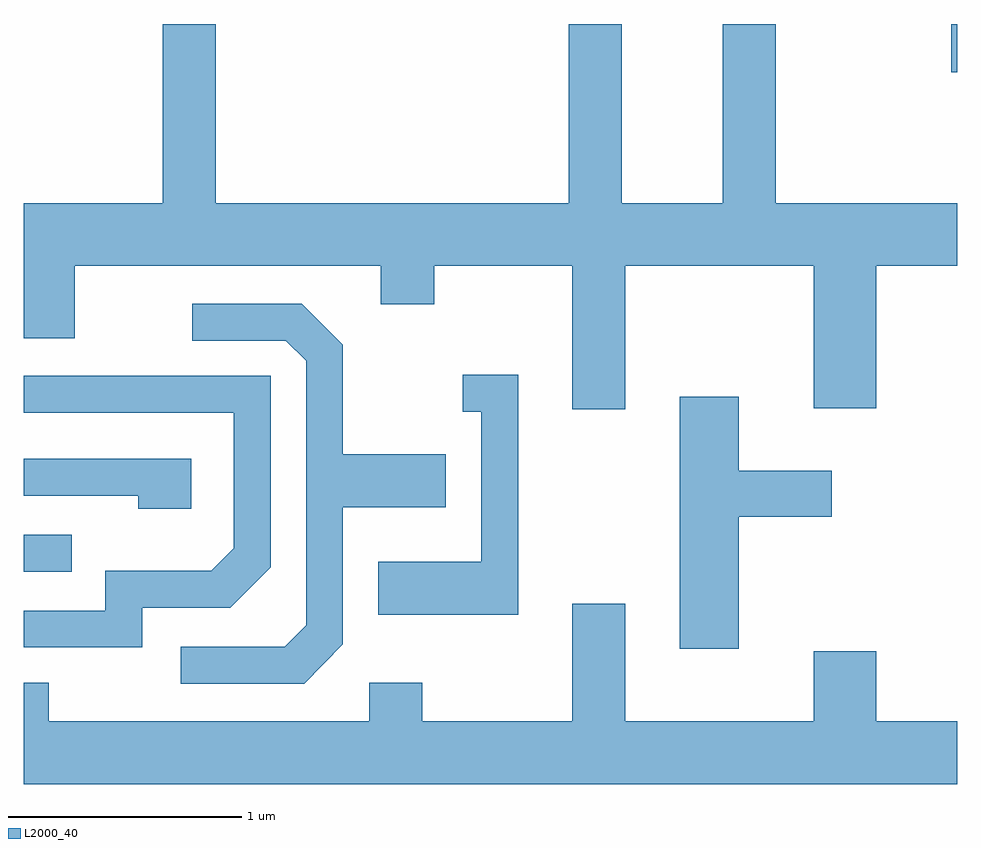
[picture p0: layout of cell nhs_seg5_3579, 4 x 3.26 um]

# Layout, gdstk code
import gdstk
lib = gdstk.Library(unit=1e-6, precision=1e-09)
def R(c, l, rs):  # rectangles x0, y0, x1, y1
    for r in rs: c.add(gdstk.rectangle(r[:2], r[2:], *l))
def P(c, l, *ps):  # polygons
    for p in ps: c.add(gdstk.Polygon(p, *l))
L2000_40 = (2000, 40)

nhs_seg5_3579 = lib.new_cell('nhs_seg5_3579')
R(nhs_seg5_3579, L2000_40, [(291.611,1437.726,291.818,1437.884), (295.586,1439.866,295.611,1440.072)])
P(nhs_seg5_3579, L2000_40, [(293.946,1440.072),(293.946,1439.304),(292.434,1439.304),(292.434,1440.072),(292.206,1440.072),(292.206,1439.304),(291.611,1439.304),(291.611,1438.726),(291.829,1438.726),(291.829,1439.036),(293.141,1439.036),(293.141,1438.871),(293.369,1438.871),(293.369,1439.036),(293.961,1439.036),(293.961,1438.421),(294.189,1438.421),(294.189,1439.036),(294.996,1439.036),(294.996,1438.426),(295.264,1438.426),(295.264,1439.036),(295.611,1439.036),(295.611,1439.304),(294.834,1439.304),(294.834,1440.072),(294.606,1440.072),(294.606,1439.304),(294.174,1439.304),(294.174,1440.072)],
  [(292.979,1437.414),(292.979,1438.001),(293.419,1438.001),(293.419,1438.229),(292.979,1438.229),(292.979,1438.697),(292.802,1438.874),(292.333,1438.874),(292.333,1438.716),(292.734,1438.716),(292.821,1438.629),(292.821,1437.497),(292.729,1437.404),(292.283,1437.404),(292.283,1437.246),(292.812,1437.246)],
  [(293.729,1438.569),(293.493,1438.569),(293.493,1438.411),(293.571,1438.411),(293.571,1437.769),(293.131,1437.769),(293.131,1437.541),(293.729,1437.541)],
  [(292.119,1437.571),(292.497,1437.571),(292.669,1437.744),(292.669,1438.564),(291.611,1438.564),(291.611,1438.406),(292.511,1438.406),(292.511,1437.827),(292.414,1437.729),(291.961,1437.729),(291.961,1437.559),(291.611,1437.559),(291.611,1437.401),(292.119,1437.401)],
  [(294.674,1437.961),(295.074,1437.961),(295.074,1438.159),(294.674,1438.159),(294.674,1438.474),(294.421,1438.474),(294.421,1437.396),(294.674,1437.396)],
  [(292.329,1438.209),(291.611,1438.209),(291.611,1438.051),(292.101,1438.051),(292.101,1437.996),(292.329,1437.996)],
  [(295.611,1437.084),(295.264,1437.084),(295.264,1437.384),(294.996,1437.384),(294.996,1437.084),(294.189,1437.084),(294.189,1437.589),(293.961,1437.589),(293.961,1437.084),(293.319,1437.084),(293.319,1437.249),(293.091,1437.249),(293.091,1437.084),(291.719,1437.084),(291.719,1437.249),(291.611,1437.249),(291.611,1436.816),(295.611,1436.816)])

lib.write_gds('nhs_seg5_3579.gds')
